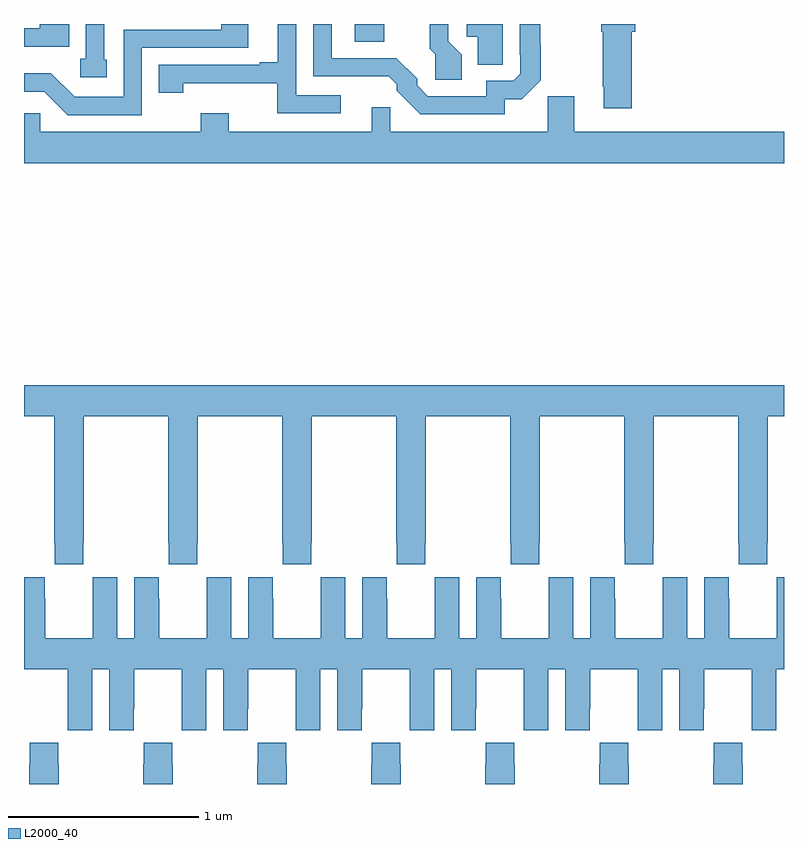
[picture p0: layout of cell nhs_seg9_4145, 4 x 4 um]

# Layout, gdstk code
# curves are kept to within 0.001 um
import gdstk
lib = gdstk.Library(unit=1e-6, precision=1e-09)
def R(c, l, rs):  # rectangles x0, y0, x1, y1
    for r in rs: c.add(gdstk.rectangle(r[:2], r[2:], *l))
def P(c, l, *ps):  # polygons
    for p in ps: c.add(gdstk.Polygon(p, *l))
L2000_40 = (2000, 40)

nhs_seg9_4145 = lib.new_cell('nhs_seg9_4145')
R(nhs_seg9_4145, L2000_40, [(350.742,1182.406,350.896,1182.5)])
P(nhs_seg9_4145, L2000_40, [(350.668,1182.126),(350.433,1182.126),(350.433,1182.5),(350.336,1182.5),(350.336,1182.298),(350.24,1182.298),(350.24,1182.285),(349.71,1182.285),(349.71,1182.138),(349.838,1182.138),(349.838,1182.188),(350.332,1182.188),(350.332,1182.03),(350.668,1182.03)],
  [(352.199,1182.459),(352.217,1182.459),(352.217,1182.5),(352.039,1182.5),(352.039,1182.459),(352.045,1182.459),(352.045,1182.169),(352.052,1182.169),(352.052,1182.057),(352.199,1182.057)],
  [(349.62,1182.375),(350.179,1182.375),(350.179,1182.5),(350.039,1182.5),(350.039,1182.471),(349.524,1182.471),(349.524,1182.117),(349.266,1182.117),(349.142,1182.241),(349,1182.241),(349,1182.144),(349.107,1182.144),(349.23,1182.021),(349.62,1182.021)],
  [(349.127,1182.381),(349.237,1182.381),(349.237,1182.5),(349.084,1182.5),(349.084,1182.477),(349,1182.477),(349,1182.38),(349.127,1182.38)],
  [(349.435,1182.312),(349.422,1182.312),(349.422,1182.5),(349.326,1182.5),(349.326,1182.318),(349.296,1182.318),(349.296,1182.219),(349.435,1182.219)],
  [(351.304,1182.338),(351.234,1182.408),(351.234,1182.5),(351.136,1182.5),(351.136,1182.37),(351.165,1182.341),(351.165,1182.207),(351.304,1182.207)],
  [(351.519,1182.5),(351.33,1182.5),(351.33,1182.434),(351.389,1182.434),(351.389,1182.286),(351.519,1182.286)],
  [(351.531,1182.105),(351.62,1182.105),(351.72,1182.204),(351.72,1182.395),(351.718,1182.395),(351.718,1182.5),(351.609,1182.5),(351.609,1182.337),(351.612,1182.337),(351.612,1182.237),(351.576,1182.201),(351.432,1182.201),(351.432,1182.12),(351.126,1182.12),(351.069,1182.177),(351.069,1182.211),(350.959,1182.321),(350.619,1182.321),(350.619,1182.5),(350.523,1182.5),(350.523,1182.225),(350.92,1182.224),(350.961,1182.184),(350.961,1182.149),(351.086,1182.024),(351.531,1182.024)],
  [(353,1181.932),(351.895,1181.932),(351.895,1182.12),(351.757,1182.12),(351.757,1181.932),(350.927,1181.932),(350.927,1182.062),(350.831,1182.062),(350.831,1181.932),(350.077,1181.932),(350.077,1182.031),(349.93,1182.031),(349.93,1181.932),(349.086,1181.932),(349.086,1182.03),(349,1182.03),(349,1181.768),(353,1181.768)],
  [(349,1180.436),(349.159,1180.436),(349.159,1179.769),(349.161,1179.769),(349.161,1179.657),(349.311,1179.657),(349.311,1179.769),(349.314,1179.769),(349.314,1180.436),(349.759,1180.436),(349.759,1179.769),(349.761,1179.769),(349.761,1179.657),(349.911,1179.657),(349.911,1179.769),(349.914,1179.769),(349.914,1180.436),(350.359,1180.436),(350.359,1179.769),(350.361,1179.769),(350.361,1179.657),(350.511,1179.657),(350.511,1179.769),(350.514,1179.769),(350.514,1180.436),(350.959,1180.436),(350.959,1179.769),(350.961,1179.769),(350.961,1179.657),(351.111,1179.657),(351.111,1179.769),(351.114,1179.769),(351.114,1180.436),(351.559,1180.436),(351.559,1179.769),(351.561,1179.769),(351.561,1179.657),(351.711,1179.657),(351.711,1179.769),(351.714,1179.769),(351.714,1180.436),(352.159,1180.436),(352.159,1179.769),(352.161,1179.769),(352.161,1179.657),(352.311,1179.657),(352.311,1179.769),(352.314,1179.769),(352.314,1180.436),(352.759,1180.436),(352.759,1179.769),(352.761,1179.769),(352.761,1179.657),(352.911,1179.657),(352.911,1179.769),(352.914,1179.769),(352.914,1180.436),(353,1180.436),(353,1180.6),(349,1180.6)],
  [(349.448,1178.784),(349.578,1178.784),(349.578,1178.896),(349.579,1178.896),(349.579,1179.104),(349.829,1179.104),(349.829,1178.896),(349.83,1178.896),(349.83,1178.784),(349.96,1178.784),(349.96,1179.104),(350.048,1179.104),(350.048,1178.784),(350.178,1178.784),(350.178,1178.896),(350.179,1178.896),(350.179,1179.104),(350.429,1179.104),(350.429,1178.896),(350.43,1178.896),(350.43,1178.784),(350.56,1178.784),(350.56,1179.104),(350.648,1179.104),(350.648,1178.784),(350.778,1178.784),(350.778,1178.896),(350.779,1178.896),(350.779,1179.104),(351.029,1179.104),(351.029,1178.896),(351.03,1178.896),(351.03,1178.784),(351.16,1178.784),(351.16,1179.104),(351.248,1179.104),(351.248,1178.784),(351.378,1178.784),(351.378,1178.896),(351.379,1178.896),(351.379,1179.104),(351.629,1179.104),(351.629,1178.896),(351.63,1178.896),(351.63,1178.784),(351.76,1178.784),(351.76,1179.104),(351.848,1179.104),(351.848,1178.784),(351.978,1178.784),(351.978,1178.896),(351.979,1178.896),(351.979,1179.104),(352.229,1179.104),(352.229,1178.896),(352.23,1178.896),(352.23,1178.784),(352.36,1178.784),(352.36,1179.104),(352.448,1179.104),(352.448,1178.784),(352.578,1178.784),(352.578,1178.896),(352.579,1178.896),(352.579,1179.104),(352.829,1179.104),(352.829,1178.896),(352.83,1178.896),(352.83,1178.784),(352.96,1178.784),(352.96,1179.104),(353,1179.104),(353,1179.589),(352.962,1179.589),(352.962,1179.476),(352.961,1179.476),(352.961,1179.268),(352.711,1179.268),(352.711,1179.476),(352.71,1179.476),(352.71,1179.589),(352.58,1179.589),(352.58,1179.268),(352.492,1179.268),(352.492,1179.589),(352.362,1179.589),(352.362,1179.476),(352.361,1179.476),(352.361,1179.268),(352.111,1179.268),(352.111,1179.476),(352.11,1179.476),(352.11,1179.589),(351.98,1179.589),(351.98,1179.268),(351.892,1179.268),(351.892,1179.589),(351.762,1179.589),(351.762,1179.476),(351.761,1179.476),(351.761,1179.268),(351.511,1179.268),(351.511,1179.476),(351.51,1179.476),(351.51,1179.589),(351.38,1179.589),(351.38,1179.268),(351.292,1179.268),(351.292,1179.589),(351.162,1179.589),(351.162,1179.476),(351.161,1179.476),(351.161,1179.268),(350.911,1179.268),(350.911,1179.476),(350.91,1179.476),(350.91,1179.589),(350.78,1179.589),(350.78,1179.268),(350.692,1179.268),(350.692,1179.589),(350.562,1179.589),(350.562,1179.476),(350.561,1179.476),(350.561,1179.268),(350.311,1179.268),(350.311,1179.476),(350.31,1179.476),(350.31,1179.589),(350.18,1179.589),(350.18,1179.268),(350.092,1179.268),(350.092,1179.589),(349.962,1179.589),(349.962,1179.476),(349.961,1179.476),(349.961,1179.268),(349.711,1179.268),(349.711,1179.476),(349.71,1179.476),(349.71,1179.589),(349.58,1179.589),(349.58,1179.268),(349.492,1179.268),(349.492,1179.589),(349.362,1179.589),(349.362,1179.476),(349.361,1179.476),(349.361,1179.268),(349.111,1179.268),(349.111,1179.476),(349.11,1179.476),(349.11,1179.589),(349,1179.589),(349,1179.104),(349.229,1179.104),(349.229,1178.896),(349.23,1178.896),(349.23,1178.784),(349.36,1178.784),(349.36,1179.104),(349.448,1179.104)],
  [(351.582,1178.603),(351.579,1178.603),(351.579,1178.716),(351.429,1178.716),(351.429,1178.603),(351.427,1178.603),(351.427,1178.5),(351.582,1178.5)],
  [(350.982,1178.603),(350.979,1178.603),(350.979,1178.716),(350.829,1178.716),(350.829,1178.603),(350.827,1178.603),(350.827,1178.5),(350.982,1178.5)],
  [(350.382,1178.603),(350.379,1178.603),(350.379,1178.716),(350.229,1178.716),(350.229,1178.603),(350.227,1178.603),(350.227,1178.5),(350.382,1178.5)],
  [(349.782,1178.603),(349.779,1178.603),(349.779,1178.716),(349.629,1178.716),(349.629,1178.603),(349.627,1178.603),(349.627,1178.5),(349.782,1178.5)],
  [(349.182,1178.603),(349.179,1178.603),(349.179,1178.716),(349.029,1178.716),(349.029,1178.603),(349.027,1178.603),(349.027,1178.5),(349.182,1178.5)],
  [(352.782,1178.603),(352.779,1178.603),(352.779,1178.716),(352.629,1178.716),(352.629,1178.603),(352.627,1178.603),(352.627,1178.5),(352.782,1178.5)],
  [(352.182,1178.603),(352.179,1178.603),(352.179,1178.716),(352.029,1178.716),(352.029,1178.603),(352.027,1178.603),(352.027,1178.5),(352.182,1178.5)])

lib.write_gds('nhs_seg9_4145.gds')
